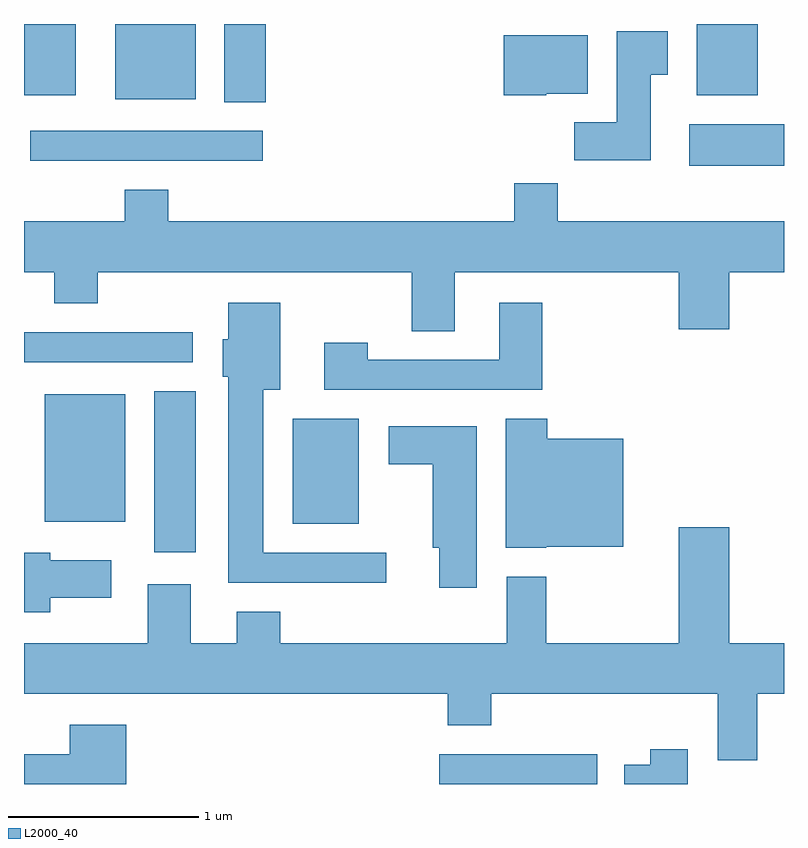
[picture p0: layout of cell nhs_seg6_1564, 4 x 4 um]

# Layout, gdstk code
import gdstk
lib = gdstk.Library(unit=1e-6, precision=1e-09)
def R(c, l, rs):  # rectangles x0, y0, x1, y1
    for r in rs: c.add(gdstk.rectangle(r[:2], r[2:], *l))
def P(c, l, *ps):  # polygons
    for p in ps: c.add(gdstk.Polygon(p, *l))
L2000_40 = (2000, 40)

nhs_seg6_1564 = lib.new_cell('nhs_seg6_1564')
R(nhs_seg6_1564, L2000_40, [(233.796,1616.162,234.628,1616.319), (232.296,1617.381,232.514,1618.229), (233.026,1617.531,233.374,1618.084), (231.721,1617.541,232.144,1618.214), (231.611,1618.381,232.498,1618.539), (235.111,1619.416,235.611,1619.634), (231.643,1619.441,232.868,1619.599), (232.666,1619.751,232.884,1620.162), (232.091,1619.766,232.514,1620.162), (231.611,1619.786,231.884,1620.162), (235.151,1619.786,235.474,1620.162)])
P(nhs_seg6_1564, L2000_40, [(234.909,1619.896),(234.999,1619.896),(234.999,1620.124),(234.731,1620.124),(234.731,1619.644),(234.506,1619.644),(234.506,1619.446),(234.909,1619.446)],
  [(234.36,1619.796),(234.579,1619.796),(234.579,1620.104),(234.136,1620.104),(234.136,1619.786),(234.36,1619.786)],
  [(233.879,1618.856),(235.056,1618.856),(235.056,1618.556),(235.324,1618.556),(235.324,1618.856),(235.611,1618.856),(235.611,1619.124),(234.419,1619.124),(234.419,1619.324),(234.191,1619.324),(234.191,1619.124),(232.369,1619.124),(232.369,1619.289),(232.141,1619.289),(232.141,1619.124),(231.611,1619.124),(231.611,1618.856),(231.771,1618.856),(231.771,1618.691),(231.999,1618.691),(231.999,1618.856),(233.651,1618.856),(233.651,1618.546),(233.879,1618.546)],
  [(233.518,1617.379),(232.869,1617.379),(232.869,1618.236),(232.959,1618.236),(232.959,1618.694),(232.686,1618.694),(232.686,1618.504),(232.656,1618.504),(232.656,1618.306),(232.686,1618.306),(232.686,1617.221),(233.518,1617.221)],
  [(234.339,1618.694),(234.111,1618.694),(234.111,1618.394),(233.419,1618.394),(233.419,1618.484),(233.191,1618.484),(233.191,1618.236),(234.339,1618.236)],
  [(234.36,1617.411),(234.764,1617.411),(234.764,1617.979),(234.364,1617.979),(234.364,1618.084),(234.146,1618.084),(234.146,1617.406),(234.36,1617.406)],
  [(233.994,1618.044),(233.531,1618.044),(233.531,1617.846),(233.761,1617.846),(233.761,1617.406),(233.796,1617.406),(233.796,1617.196),(233.994,1617.196)],
  [(235.469,1616.636),(235.611,1616.636),(235.611,1616.904),(235.324,1616.904),(235.324,1617.514),(235.056,1617.514),(235.056,1616.904),(234.359,1616.904),(234.359,1617.254),(234.151,1617.254),(234.151,1616.904),(232.959,1616.904),(232.959,1617.069),(232.731,1617.069),(232.731,1616.904),(232.489,1616.904),(232.489,1617.214),(232.261,1617.214),(232.261,1616.904),(231.611,1616.904),(231.611,1616.636),(233.841,1616.636),(233.841,1616.471),(234.069,1616.471),(234.069,1616.636),(235.261,1616.636),(235.261,1616.286),(235.469,1616.286)],
  [(231.749,1617.141),(232.069,1617.141),(232.069,1617.339),(231.749,1617.339),(231.749,1617.379),(231.611,1617.379),(231.611,1617.066),(231.749,1617.066)],
  [(232.149,1616.474),(231.851,1616.474),(231.851,1616.319),(231.611,1616.319),(231.611,1616.162),(232.149,1616.162)],
  [(235.104,1616.344),(234.906,1616.344),(234.906,1616.264),(234.771,1616.264),(234.771,1616.162),(235.104,1616.162)])

lib.write_gds('nhs_seg6_1564.gds')
